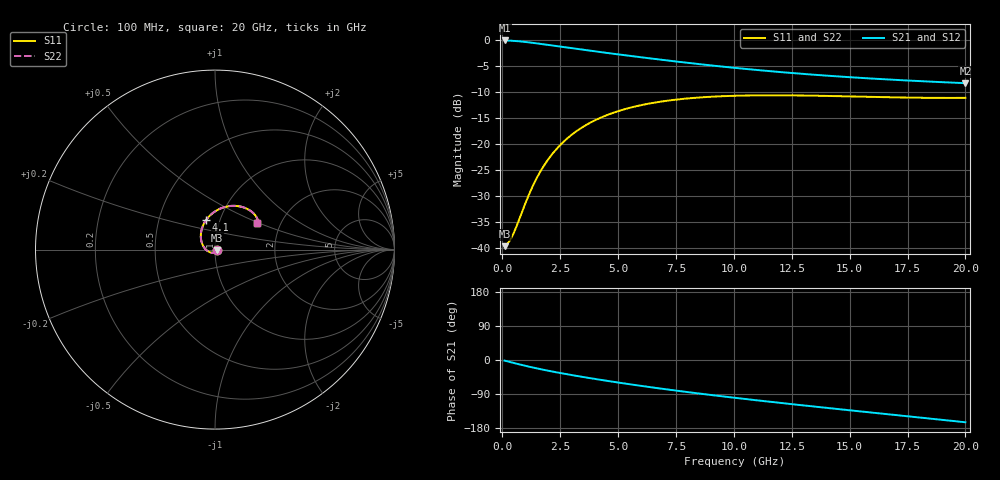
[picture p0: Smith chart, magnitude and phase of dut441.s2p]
! Touchstone file exported from HFSS 2024.1.0
!  File:  C:/UserFiles/LocalFiles/RDL_TSV_Batchsim/temp_RDL_TSV_441_1779722507.aedt
!  Generated:  11:37:09 PM May 25, 2026
!  Design:  RDL_TSV
!  Project:  temp_RDL_TSV_441_1779722507
!  Setup:  Setup1
!  Solution:  Sweep
! Variables:
!  dtsv = 12.58um
!  hbump = 3um
!  htsv = 84.63um
!  ldown = 397.57um
!  lrdl = 199.56um
!  p = 40
!  p1 = 49.24um
!  rhole = 10um
!  subl = 1990.95um
!  t = 450um
!  tdown = 4.94um
!  trdl = 4.06um
!  viad = 10um
!  wdown = 15.64um
!  wrdl = 16.17um
!  xbump = 18um
# GHz S MA R 50.000000
! Terminal data exported
! Port[1] = TM1_1_T1
! Port[2] = TM1_4_T1
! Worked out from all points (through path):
!   200 points, 100 MHz to 20 GHz, reference 50 ohm
!   highest |S21| = -0.10 dB at 100 MHz (marker M1); lowest = -8.3 dB at 20 GHz (marker M2)
!   group delay of S21, straight-line fit = 21.3 ps
!   lowest |S11| = -39.6 dB at 100 MHz (marker M3), VSWR 1.02, Z = 51 - j0.298 ohm
!   |S11| at or under -10 dB: start of sweep to end of sweep
!   |S22| runs from -39.6 to -10.6 dB; largest |S21 - S12| = 1.7e-14
!   S11 on the Smith chart (normalised r, x): 100 MHz: 1.02, -0.01; 4.1 GHz: 0.86, +0.30; 20 GHz: 1.52, +0.49
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0.1  0.01052 -16.1  0.9891 -1.6  0.9891 -1.6  0.01052 -16.1
! Gamma 0 0 0 0
! Port Impedance 50 0 50 0
0.2  0.01098 -32.6  0.9877 -3.2  0.9877 -3.2  0.01098 -32.6
0.4  0.01277 -65.8  0.9829 -6.4  0.9829 -6.4  0.01277 -65.8
0.6  0.016 -96.2  0.976 -9.5  0.976 -9.5  0.016 -96.2
1.2  0.0348 -157.4  0.9454 -18.2  0.9454 -18.2  0.03482 -157.4
1.5  0.04789 -176.4  0.9268 -22.3  0.9268 -22.3  0.04793 -176.4
1.8  0.06235 168.6  0.9074 -26.1  0.9074 -26.1  0.0624 168.6
2.2  0.08267 152.7  0.8816 -30.9  0.8816 -30.9  0.08275 152.7
2.6  0.1033 139.8  0.8565 -35.4  0.8565 -35.4  0.1034 139.8
3  0.1234 128.9  0.8325 -39.8  0.8325 -39.8  0.1235 128.9
3.5  0.1474 117.5  0.8041 -45.0  0.8041 -45.0  0.1475 117.5
4.1  0.1736 106.0  0.7721 -50.9  0.7721 -50.9  0.1738 106.1
4.7  0.1969 96.4  0.7419 -56.7  0.7419 -56.7  0.1972 96.4
5.3  0.2172 88.1  0.7134 -62.2  0.7134 -62.2  0.2175 88.1
6.8  0.2553 71.6  0.6487 -75.1  0.6487 -75.1  0.2557 71.6
8.4  0.2796 58.7  0.5898 -87.7  0.5898 -87.7  0.2799 58.8
10.1  0.2918 48.7  0.5382 -100.2  0.5382 -100.2  0.2922 48.7
11.7  0.2947 41.8  0.4988 -111.2  0.4988 -111.2  0.2951 41.9
13.4  0.2923 36.7  0.465 -122.4  0.465 -122.4  0.2927 36.8
15  0.2875 33.7  0.4394 -132.7  0.4394 -132.7  0.2878 33.7
16.7  0.2821 32.0  0.4173 -143.5  0.4173 -143.5  0.2824 32.1
20  0.2786 32.4  0.385 -164.3  0.385 -164.3  0.2789 32.4
